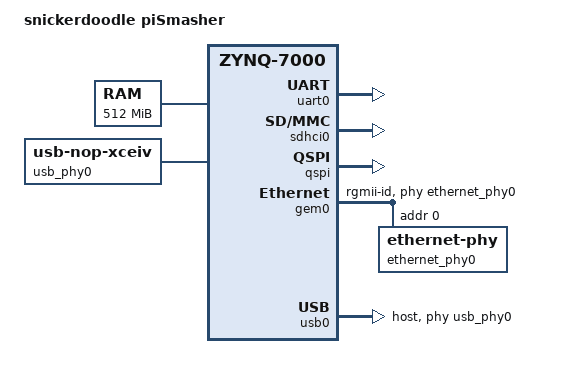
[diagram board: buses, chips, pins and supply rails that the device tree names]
/*
 * snickerdoodle piSmasher board DTS
 *
 * Copyright (c) 2017 krtkl inc.
 *
 * SPDX-License-Identifier:     GPL-2.0+
 */


/dts-v1/;
/include/ "zynq-7000.dtsi"
/ {
        model = "snickerdoodle piSmasher";
        compatible = "xlnx,zynq-snickerdoodle", "xlnx,zynq-7000";

	aliases {
		ethernet0 = &gem0;
		ethernet1 = &gem1;
		serial0 = &uart0;
		spi0 = &qspi;
		mmc0 = &sdhci0;
	};

	chosen {
		bootargs = "";
                stdout-path = "serial0:115200n8";
	};

	memory@0 {
		device_type = "memory";
		reg = <0x0 0x20000000>;
	};

	cpus {
		cpu@0 {
			operating-points = <
				/* kHz	uV */
				666667	1000000
				333334	1000000
			>;
		};
	};

	usb_phy0: phy0 {
		compatible = "usb-nop-xceiv";
		#phy-cells = <0x0>;
	};
};

&clkc {
	ps-clk-frequency = <33333333>;
};

&uart0 {
	u-boot,dm-pre-reloc;
        status = "okay";
};

&sdhci0 {
	u-boot,dm-pre-reloc;
        status = "okay";
};

&qspi {
	u-boot,dm-pre-reloc;
	status = "okay";
};

&gem0 {
	u-boot,dm-pre-reloc;
	status = "okay";
	phy-mode = "rgmii-id";
	phy-handle = <&ethernet_phy0>;

	ethernet_phy0: ethernet-phy@0 {
		reg = <0x0>;
	};
};

&usb0 {
	u-boot,dm-pre-reloc;
	status = "okay";
	dr_mode = "host";
	usb-phy = <&usb_phy0>;
};



